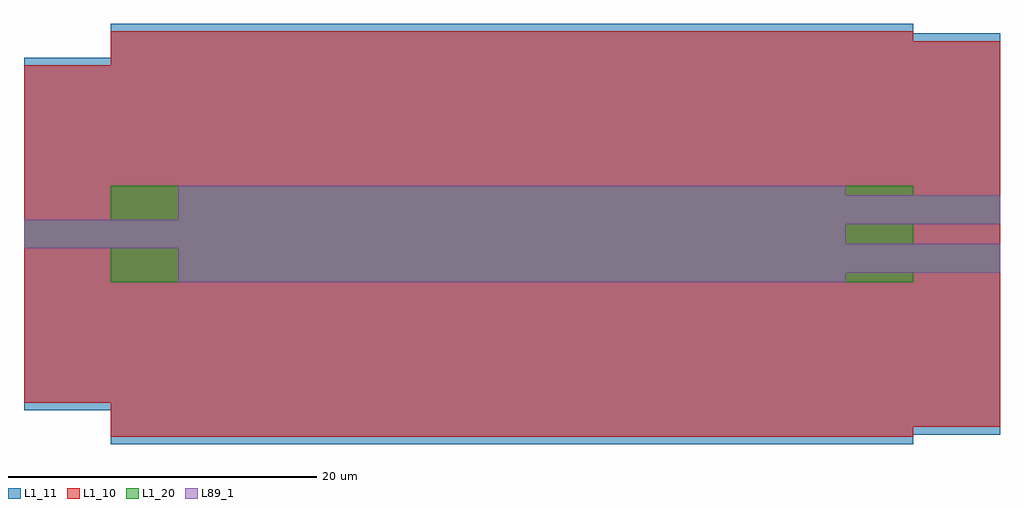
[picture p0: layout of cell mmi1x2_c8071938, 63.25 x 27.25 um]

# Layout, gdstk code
import gdstk
lib = gdstk.Library(unit=1e-6, precision=1e-09)
def R(c, l, rs):  # rectangles x0, y0, x1, y1
    for r in rs: c.add(gdstk.rectangle(r[:2], r[2:], *l))
L1_10 = (1, 10)
L1_11 = (1, 11)
L1_20 = (1, 20)
L89_1 = (89, 1)

mmi1x2_c8071938 = lib.new_cell('mmi1x2_c8071938')
R(mmi1x2_c8071938, L1_10, [(-4.375,-13.125,47.625,13.125), (43.25,-12.5,53.25,9.375), (-10,-10.937,0,10.937), (43.25,-9.375,53.25,12.5)])
R(mmi1x2_c8071938, L1_11, [(-4.375,-13.625,47.625,13.625), (43.25,-13,53.25,9.875), (-10,-11.437,0,11.437), (43.25,-9.875,53.25,13)])
R(mmi1x2_c8071938, L1_20, [(-4.375,-3.125,47.625,3.125), (43.25,-2.5,53.25,-0.625), (-10,-0.937,0,0.937), (43.25,0.625,53.25,2.5)])
R(mmi1x2_c8071938, L89_1, [(0,-3.125,43.25,3.125), (43.25,-2.5,53.25,-0.625), (-10,-0.937,0,0.937), (43.25,0.625,53.25,2.5)])

lib.write_gds('mmi1x2_c8071938.gds')
